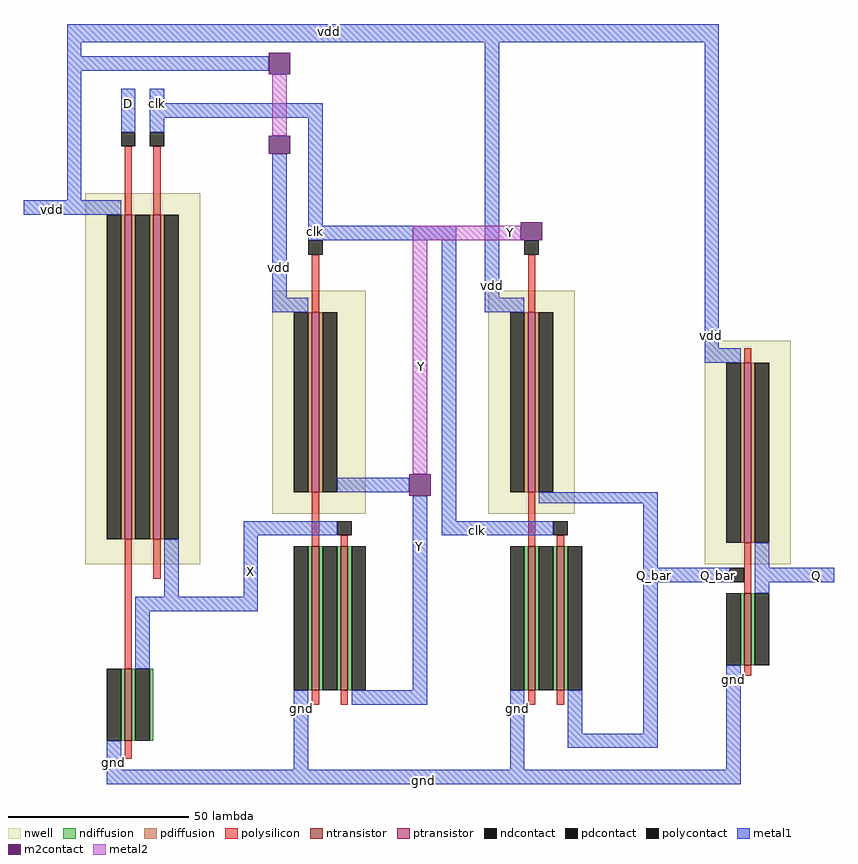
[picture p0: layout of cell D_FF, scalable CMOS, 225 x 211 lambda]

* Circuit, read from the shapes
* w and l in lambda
.subckt D_FF D Q Q_bar X Y clk gnd vdd
M1 X D gnd VSUBS nfet w=20 l=2
M2 n1 clk gnd VSUBS nfet w=40 l=2
M3 Y X n1 VSUBS nfet w=40 l=2
M4 n2 Y gnd VSUBS nfet w=40 l=2
M5 Q_bar clk n2 VSUBS nfet w=40 l=2
M6 Q Q_bar gnd VSUBS nfet w=20 l=2
M7 n3 D vdd n4 pfet w=90 l=2
M8 X clk n3 n4 pfet w=90 l=2
M9 Y clk vdd n5 pfet w=50 l=2
M10 Q_bar Y vdd n6 pfet w=50 l=2
M11 Q Q_bar vdd n7 pfet w=50 l=2
.ends

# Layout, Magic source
magic
tech scmos
<< nwell >>
rect 10 -34 42 69
rect 62 -20 88 42
rect 122 -20 146 42
rect 182 -34 206 28
<< ntransistor >>
rect 21 -83 23 -63
rect 73 -69 75 -29
rect 81 -69 83 -29
rect 133 -69 135 -29
rect 141 -69 143 -29
rect 193 -62 195 -42
<< ptransistor >>
rect 21 -27 23 63
rect 29 -27 31 63
rect 73 -14 75 36
rect 133 -14 135 36
rect 193 -28 195 22
<< ndiffusion >>
rect 20 -83 21 -63
rect 23 -83 24 -63
rect 28 -83 29 -63
rect 72 -69 73 -29
rect 75 -69 76 -29
rect 80 -69 81 -29
rect 83 -69 84 -29
rect 132 -69 133 -29
rect 135 -69 136 -29
rect 140 -69 141 -29
rect 143 -69 144 -29
rect 192 -62 193 -42
rect 195 -62 196 -42
<< pdiffusion >>
rect 20 -27 21 63
rect 23 -27 24 63
rect 28 -27 29 63
rect 31 -27 32 63
rect 72 -14 73 36
rect 75 -14 76 36
rect 132 -14 133 36
rect 135 -14 136 36
rect 192 -28 193 22
rect 195 -28 196 22
<< ndcontact >>
rect 16 -83 20 -63
rect 24 -83 28 -63
rect 68 -69 72 -29
rect 76 -69 80 -29
rect 84 -69 88 -29
rect 128 -69 132 -29
rect 136 -69 140 -29
rect 144 -69 148 -29
rect 188 -62 192 -42
rect 196 -62 200 -42
<< pdcontact >>
rect 16 -27 20 63
rect 24 -27 28 63
rect 32 -27 36 63
rect 68 -14 72 36
rect 76 -14 80 36
rect 128 -14 132 36
rect 136 -14 140 36
rect 188 -28 192 22
rect 196 -28 200 22
<< polysilicon >>
rect 21 63 23 82
rect 29 63 31 82
rect 73 36 75 52
rect 133 36 135 52
rect 193 22 195 26
rect 21 -63 23 -27
rect 29 -38 31 -27
rect 73 -29 75 -14
rect 81 -29 83 -26
rect 133 -29 135 -14
rect 141 -29 143 -26
rect 193 -42 195 -28
rect 193 -65 195 -62
rect 73 -73 75 -69
rect 81 -73 83 -69
rect 133 -73 135 -69
rect 141 -73 143 -69
rect 21 -88 23 -83
<< polycontact >>
rect 20 82 24 86
rect 28 82 32 86
rect 72 52 76 56
rect 132 52 136 56
rect 80 -26 84 -22
rect 140 -26 144 -22
rect 189 -39 193 -35
<< metal1 >>
rect 5 111 186 116
rect 5 107 9 111
rect 5 103 61 107
rect 5 67 9 103
rect 20 86 24 98
rect 28 94 32 98
rect 28 90 76 94
rect 28 86 32 90
rect -7 63 20 67
rect 62 40 66 80
rect 72 60 76 90
rect 72 56 113 60
rect 62 36 72 40
rect 80 -14 100 -10
rect 32 -43 36 -27
rect 54 -26 80 -22
rect 54 -43 58 -26
rect 24 -47 58 -43
rect 24 -63 28 -47
rect 101 -69 105 -15
rect 109 -22 113 56
rect 121 40 125 111
rect 121 36 132 40
rect 182 26 186 111
rect 182 22 192 26
rect 136 -17 169 -14
rect 109 -26 140 -22
rect 16 -91 20 -83
rect 68 -91 72 -69
rect 84 -73 105 -69
rect 128 -91 132 -69
rect 144 -81 148 -69
rect 165 -35 169 -17
rect 196 -35 200 -28
rect 165 -39 189 -35
rect 196 -39 218 -35
rect 165 -81 169 -39
rect 196 -42 200 -39
rect 144 -85 169 -81
rect 188 -91 192 -62
rect 16 -95 192 -91
<< m2contact >>
rect 61 102 67 108
rect 61 80 67 85
rect 100 -15 106 -9
rect 131 56 137 61
<< metal2 >>
rect 62 85 66 102
rect 101 56 131 60
rect 101 -9 105 56
<< labels >>
rlabel metal1 21 93 23 95 1 D
rlabel metal1 29 93 31 95 1 clk
rlabel metal1 55 -37 57 -35 1 X
rlabel metal1 167 -38 169 -36 1 Q_bar
rlabel metal1 212 -38 214 -36 7 Q
rlabel metal1 77 113 79 115 5 vdd
rlabel metal1 73 58 75 59 1 clk
rlabel metal1 118 -25 120 -24 1 clk
rlabel metal1 122 43 124 44 1 vdd
rlabel metal1 183 29 185 30 1 vdd
rlabel metal1 102 -31 104 -27 1 Y
rlabel metal2 102 18 105 24 1 Y
rlabel metal2 127 57 129 59 1 Y
rlabel metal1 189 -67 191 -65 1 gnd
rlabel metal1 129 -75 131 -73 1 gnd
rlabel metal1 69 -75 71 -73 1 gnd
rlabel metal1 17 -90 19 -88 1 gnd
rlabel metal1 103 -95 105 -93 1 gnd
rlabel metal1 185 -38 187 -36 1 Q_bar
rlabel metal1 63 48 65 49 1 vdd
rlabel metal1 0 64 2 65 1 vdd
<< end >>
